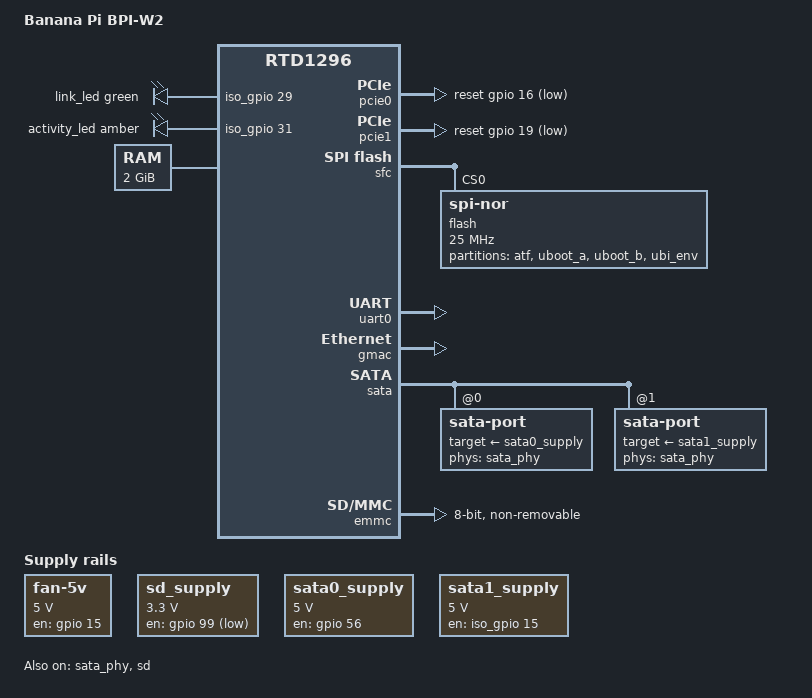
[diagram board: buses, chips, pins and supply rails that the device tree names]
// SPDX-License-Identifier: (GPL-2.0-or-later OR BSD-2-Clause)
/dts-v1/;

#include "rtd1296.dtsi"
#include <dt-bindings/gpio/gpio.h>
#include <dt-bindings/leds/common.h>

/ {
	model = "Banana Pi BPI-W2";
	compatible = "bananapi,bpi-w2", "realtek,rtd1296";

	aliases {
		serial0 = &uart0;
		spi0 = &sfc;
		ethernet0 = &gmac;
		mmc0 = &emmc;
		mmc1 = &sd;
		pci0 = &pcie0;
		pci1 = &pcie1;
	};

	chosen {
		stdout-path = "serial0:115200n8";
	};

	leds {
		compatible = "gpio-leds";

		link_led: led-link {
			color = <LED_COLOR_ID_GREEN>;
			function = LED_FUNCTION_LAN;
			gpios = <&iso_gpio 29 GPIO_ACTIVE_HIGH>;
			default-state = "off";
		};

		activity_led: led-activity {
			color = <LED_COLOR_ID_AMBER>;
			function = LED_FUNCTION_LAN;
			gpios = <&iso_gpio 31 GPIO_ACTIVE_HIGH>;
			default-state = "off";
		};
	};

	memory@0 {
		device_type = "memory";
		reg = <0 0x80000000>;
	};

	psci {
		compatible = "arm,psci-1.0", "arm,psci-0.2";
		method = "smc";
	};

	regulator-fan {
		compatible = "regulator-fixed";
		regulator-name = "fan-5v";
		regulator-min-microvolt = <5000000>;
		regulator-max-microvolt = <5000000>;
		gpios = <&gpio 15 GPIO_ACTIVE_HIGH>;
		enable-active-high;
		regulator-always-on;
		regulator-boot-on;
		pinctrl-names = "default";
		pinctrl-0 = <&fan_pins>;
	};

	sd_supply: regulator-sd {
		compatible = "regulator-fixed";
		regulator-name = "sd-3v3";
		regulator-min-microvolt = <3300000>;
		regulator-max-microvolt = <3300000>;
		gpios = <&gpio 99 GPIO_ACTIVE_LOW>;
		startup-delay-us = <10000>;
	};

	sata0_supply: regulator-sata0 {
		compatible = "regulator-fixed";
		regulator-name = "sata0-5v";
		regulator-min-microvolt = <5000000>;
		regulator-max-microvolt = <5000000>;
		gpios = <&gpio 56 GPIO_ACTIVE_HIGH>;
		enable-active-high;
		startup-delay-us = <100000>;
		pinctrl-names = "default";
		pinctrl-0 = <&sata0_power_pins>;
	};

	sata1_supply: regulator-sata1 {
		compatible = "regulator-fixed";
		regulator-name = "sata1-5v";
		regulator-min-microvolt = <5000000>;
		regulator-max-microvolt = <5000000>;
		gpios = <&iso_gpio 15 GPIO_ACTIVE_HIGH>;
		enable-active-high;
		startup-delay-us = <100000>;
		pinctrl-names = "default";
		pinctrl-0 = <&sata1_power_pins>;
	};
};

&{/reserved-memory} {
	/delete-node/ rpc@1f000;
	/delete-node/ rpc@1ffe000;
	/delete-node/ tee@10100000;

	bl31@10000000 {
		reg = <0x10000000 0x40000>;
		no-map;
	};
};

&cpu0 { enable-method = "psci"; };
&cpu1 { enable-method = "psci"; };
&cpu2 { enable-method = "psci"; };
&cpu3 { enable-method = "psci"; };

&pinctrl {
	pcie0_reset_pins: pcie0-reset-pins {
		pinctrl-single,bits = <0xc 0 0xc0000000>;
	};

	pcie1_reset_pins: pcie1-reset-pins {
		pinctrl-single,bits = <0xc 0 0x03000000>;
	};

	fan_pins: fan-pins {
		pinctrl-single,bits = <0xc 0 0x00030000>;
	};
};

&pcie0 {
	status = "okay";
	reset-gpios = <&gpio 16 GPIO_ACTIVE_LOW>;
	pinctrl-names = "default";
	pinctrl-0 = <&pcie0_reset_pins>;
};

&pcie1 {
	status = "okay";
	reset-gpios = <&gpio 19 GPIO_ACTIVE_LOW>;
	pinctrl-names = "default";
	pinctrl-0 = <&pcie1_reset_pins>;
};

&sfc {
	status = "okay";

	flash@0 {
		compatible = "jedec,spi-nor";
		reg = <0>;
		spi-max-frequency = <25000000>;

		partitions {
			compatible = "fixed-partitions";
			#address-cells = <1>;
			#size-cells = <1>;

			partition@0 {
				label = "atf";
				reg = <0 0x40000>;
				read-only;
			};

			partition@40000 {
				label = "uboot_a";
				reg = <0x40000 0x400000>;
			};

			partition@440000 {
				label = "uboot_b";
				reg = <0x440000 0x400000>;
			};

			partition@840000 {
				label = "ubi_env";
				reg = <0x840000 0x7c0000>;
			};
		};
	};
};

&uart0 {
	status = "okay";
};

&gmac {
	status = "okay";
	pinctrl-names = "default";
	pinctrl-0 = <&gmac_led_pins>;
	u-boot,link-led = <&link_led>;
	u-boot,activity-led = <&activity_led>;
};

&iso_pinctrl {
	sata1_power_pins: sata1-power-pins {
		pinctrl-single,bits = <0 0 0x00300000>;
	};

	gmac_led_pins: gmac-led-pins {
		pinctrl-single,bits = <4 0 0x00330000>;
	};
};

&disp_pinctrl {
	sata0_power_pins: sata0-power-pins {
		pinctrl-single,bits = <8 0 0x30>;
	};
};

&sata_phy {
	status = "okay";
};

&sata {
	status = "okay";

	sata-port@0 {
		reg = <0>;
		phys = <&sata_phy 0>;
		target-supply = <&sata0_supply>;
	};

	sata-port@1 {
		reg = <1>;
		phys = <&sata_phy 1>;
		target-supply = <&sata1_supply>;
	};
};

&emmc {
	status = "okay";
	bus-width = <8>;
	max-frequency = <20000000>;
	non-removable;
	pinctrl-names = "default";
	pinctrl-0 = <&emmc_pins>;
};

&cr_pinctrl {
	sd_pins: sd-pins {
		pinctrl-single,bits =
			<0x04 0x55550000 0xffff0000>,
			<0x10 0x33333323 0x33333333>,
			<0x34 0x00003333 0x0000ffff>,
			<0x38 0x33333333 0xffffffff>;
	};

	emmc_pins: emmc-pins {
		pinctrl-single,bits =
			<0x00 0xaaaa0828 0xffff0c3c>,
			<0x0c 0x33333333 0x33333333>,
			<0x24 0x77777777 0x77777777>,
			<0x28 0x77777777 0x77777777>,
			<0x2c 0x77007700 0x77007700>;
	};
};

&sd {
	status = "okay";
	bus-width = <4>;
	max-frequency = <25000000>;
	no-1-8-v;
	vmmc-supply = <&sd_supply>;
	pinctrl-names = "default";
	pinctrl-0 = <&sd_pins>;
};
